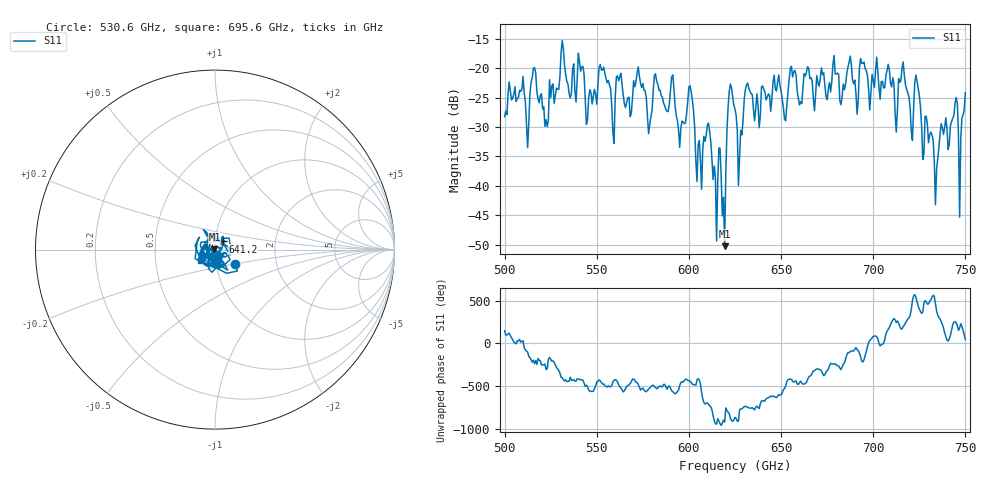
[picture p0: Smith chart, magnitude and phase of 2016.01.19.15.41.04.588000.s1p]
!Created with skrf (http://scikit-rf.org).
# GHz S RI R 50.0
!freq ReS11 ImS11
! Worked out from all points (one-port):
!   401 points, 500 GHz to 750 GHz, reference 50 ohm
!   lowest |S11| = -50.3 dB at 619.4 GHz (marker M1), VSWR 1.01, Z = 49.7 + j0.126 ohm
!   |S11| at or under -10 dB: start of sweep to end of sweep
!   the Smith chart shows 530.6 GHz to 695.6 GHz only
!   S11 on the Smith chart (normalised r, x): 530.6 GHz: 1.23, -0.19; 641.2 GHz: 1.09, +0.10; 695.6 GHz: 0.85, -0.10
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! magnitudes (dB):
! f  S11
! 500 GHz  -28.2
! 512.5 GHz  -33.5
! 515.6 GHz  -20.0
! 522.5 GHz  -28.7
! 530.6 GHz  -17.4
! 531.2 GHz  -15.2
! 545 GHz  -28.7
! 562.5 GHz  -21.4
! 593.8 GHz  -28.9
! 600.6 GHz  -23.0
! 605.6 GHz  -32.3
! 610.6 GHz  -29.3
! 619.4 GHz  -50.3
! 621.9 GHz  -23.9
! 625 GHz  -26.9
! 627.5 GHz  -34.9
! 631.2 GHz  -22.9
! 641.2 GHz  -24.0
! 651.9 GHz  -28.6
! 656.2 GHz  -21.5
! 687.5 GHz  -17.9
! 695.6 GHz  -20.1
! 718.8 GHz  -24.1
! 723.8 GHz  -22.1
! 734.4 GHz  -37.1
! 744.4 GHz  -26.0
! 747.5 GHz  -31.9
! 750 GHz  -24.1
